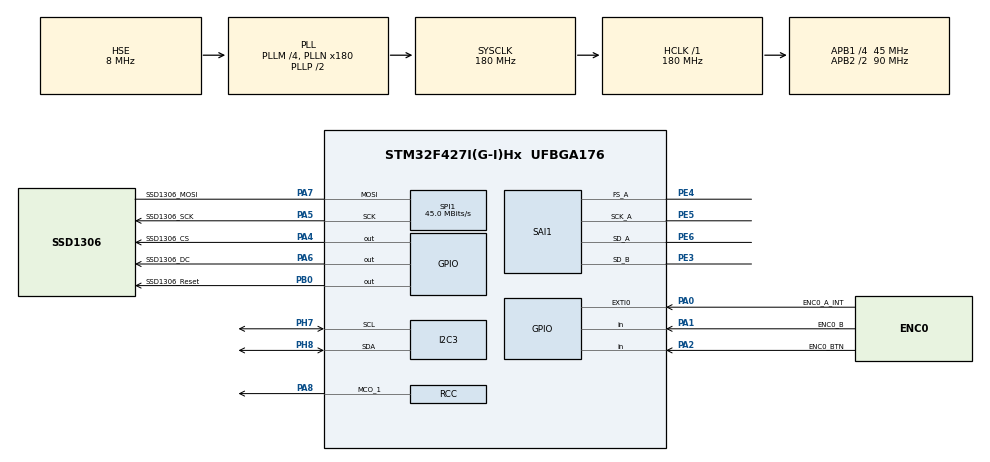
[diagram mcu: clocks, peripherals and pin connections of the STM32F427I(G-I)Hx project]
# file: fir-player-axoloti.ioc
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Dma.Request0=SAI1_A
Dma.Request1=SAI1_B
Dma.SAI1_A.0.Direction=DMA_MEMORY_TO_PERIPH
Dma.SAI1_A.0.FIFOMode=DMA_FIFOMODE_DISABLE
Dma.SAI1_A.0.Instance=DMA2_Stream1
Dma.SAI1_A.0.MemDataAlignment=DMA_MDATAALIGN_WORD
Dma.SAI1_A.0.MemInc=DMA_MINC_ENABLE
Dma.SAI1_A.0.Mode=DMA_CIRCULAR
Dma.SAI1_A.0.PeriphDataAlignment=DMA_PDATAALIGN_WORD
Dma.SAI1_A.0.PeriphInc=DMA_PINC_DISABLE
Dma.SAI1_A.0.Priority=DMA_PRIORITY_HIGH
Dma.SAI1_B.1.Direction=DMA_PERIPH_TO_MEMORY
Dma.SAI1_B.1.FIFOMode=DMA_FIFOMODE_DISABLE
Dma.SAI1_B.1.Instance=DMA2_Stream4
Dma.SAI1_B.1.MemDataAlignment=DMA_MDATAALIGN_WORD
Dma.SAI1_B.1.MemInc=DMA_MINC_ENABLE
Dma.SAI1_B.1.Mode=DMA_CIRCULAR
Dma.SAI1_B.1.PeriphDataAlignment=DMA_PDATAALIGN_WORD
Dma.SAI1_B.1.PeriphInc=DMA_PINC_DISABLE
Dma.SAI1_B.1.Priority=DMA_PRIORITY_HIGH
I2C3.OwnAddress=56
Mcu.Family=STM32F4
Mcu.Name=STM32F427I(G-I)Hx
Mcu.Package=UFBGA176
NVIC.DMA2_Stream1_IRQn=true\:0\:0\:false\:false\:true\:false\:true\:true
NVIC.DMA2_Stream4_IRQn=true\:0\:0\:false\:false\:true\:false\:true\:true
NVIC.EXTI0_IRQn=true\:0\:0\:false\:false\:true\:true\:true\:true
NVIC.PriorityGroup=NVIC_PRIORITYGROUP_4
PA0/WKUP.GPIO_Label=ENC0_A_INT
PA0/WKUP.GPIO_ModeDefaultEXTI=GPIO_MODE_IT_FALLING
PA0/WKUP.GPIO_PuPd=GPIO_PULLUP
PA0/WKUP.Signal=GPXTI0
PA1.GPIO_Label=ENC0_B
PA1.GPIO_PuPd=GPIO_PULLUP
PA1.Signal=GPIO_Input
PA13.Mode=Serial_Wire
PA13.Signal=SYS_JTMS-SWDIO
PA14.Mode=Serial_Wire
PA14.Signal=SYS_JTCK-SWCLK
PA2.GPIO_Label=ENC0_BTN
PA2.GPIO_PuPd=GPIO_PULLUP
PA2.Signal=GPIO_Input
PA4.GPIO_Label=SSD1306_CS
PA4.GPIO_Speed=GPIO_SPEED_FREQ_HIGH
PA4.Signal=GPIO_Output
PA5.GPIO_Label=SSD1306_SCK
PA5.Mode=Simplex_Bidirectional_Master
PA5.Signal=SPI1_SCK
PA6.GPIO_Label=SSD1306_DC
PA6.GPIO_Speed=GPIO_SPEED_FREQ_HIGH
PA6.Signal=GPIO_Output
PA7.GPIO_Label=SSD1306_MOSI
PA7.Mode=Simplex_Bidirectional_Master
PA7.Signal=SPI1_MOSI
PA8.Mode=Clock-out-1
PA8.Signal=RCC_MCO_1
PB0.GPIO_Label=SSD1306_Reset
PB0.GPIO_Speed=GPIO_SPEED_FREQ_HIGH
PB0.Signal=GPIO_Output
PE3.Mode=SAI_B_SyncSlave
PE3.Signal=SAI1_SD_B
PE4.Mode=SAI_A_AsyncSlave
PE4.Signal=SAI1_FS_A
PE5.Mode=SAI_A_AsyncSlave
PE5.Signal=SAI1_SCK_A
PE6.Mode=SAI_A_AsyncSlave
PE6.Signal=SAI1_SD_A
PH0/OSC_IN.Mode=HSE-External-Oscillator
PH0/OSC_IN.Signal=RCC_OSC_IN
PH1/OSC_OUT.Mode=HSE-External-Oscillator
PH1/OSC_OUT.Signal=RCC_OSC_OUT
PH7.GPIO_Pu=GPIO_PULLUP
PH7.Mode=I2C
PH7.Signal=I2C3_SCL
PH8.GPIO_Pu=GPIO_PULLUP
PH8.Mode=I2C
PH8.Signal=I2C3_SDA
ProjectManager.HeapSize=0x200
ProjectManager.StackSize=0x800
ProjectManager.TargetToolchain=MDK-ARM V5
RCC.48MHZClocksFreq_Value=90000000
RCC.AHBFreq_Value=180000000
RCC.APB1CLKDivider=RCC_HCLK_DIV4
RCC.APB1Freq_Value=45000000
RCC.APB1TimFreq_Value=90000000
RCC.APB2CLKDivider=RCC_HCLK_DIV2
RCC.APB2Freq_Value=90000000
RCC.APB2TimFreq_Value=180000000
RCC.CortexFreq_Value=180000000
RCC.HCLKFreq_Value=180000000
RCC.HSE_VALUE=8000000
RCC.HSI_VALUE=16000000
RCC.LSE_VALUE=32768
RCC.PLLI2SQ=4
RCC.PLLM=4
RCC.PLLN=180
RCC.PLLSAIN=172
RCC.PLLSAIQ=7
RCC.PLLSourceVirtual=RCC_PLLSOURCE_HSE
RCC.RCC_MCO1Source=RCC_MCO1SOURCE_HSE
RCC.SYSCLKFreq_VALUE=180000000
RCC.SYSCLKSource=RCC_SYSCLKSOURCE_PLLCLK
RCC.VCOOutputFreq_Value=360000000
SAI1.ActiveFrameLength-SAI_A_AsyncSlave=32
SAI1.ActiveFrameLength-SAI_B_SyncSlave=32
SAI1.AudioMode-SAI_A_AsyncSlave=SAI_MODESLAVE_TX
SAI1.ClockStrobing-SAI_A_AsyncSlave=SAI_CLOCKSTROBING_FALLINGEDGE
SAI1.ClockStrobing-SAI_B_SyncSlave=SAI_CLOCKSTROBING_RISINGEDGE
SAI1.DataSize-SAI_A_AsyncSlave=SAI_DATASIZE_32
SAI1.DataSize-SAI_B_SyncSlave=SAI_DATASIZE_32
SAI1.FSOffset-SAI_A_AsyncSlave=SAI_FS_BEFOREFIRSTBIT
SAI1.FSOffset-SAI_B_SyncSlave=SAI_FS_BEFOREFIRSTBIT
SAI1.FrameLength-SAI_A_AsyncSlave=64
SAI1.FrameLength-SAI_B_SyncSlave=64
SAI1.Instance-SAI_A_AsyncSlave=SAI$Index_Block_A
SAI1.Instance-SAI_B_SyncSlave=SAI$Index_Block_B
SAI1.SlotActive-SAI_A_AsyncSlave=0x00000003
SAI1.SlotActive-SAI_B_SyncSlave=0x00000003
SAI1.SlotNumber-SAI_A_AsyncSlave=2
SAI1.SlotNumber-SAI_B_SyncSlave=2
SAI1.SlotSize-SAI_A_AsyncSlave=SAI_SLOTSIZE_32B
SAI1.SlotSize-SAI_B_SyncSlave=SAI_SLOTSIZE_32B
SAI1.Synchro_A=SAI_ASYNCHRONOUS
SAI1.Synchro_B=SAI_SYNCHRONOUS
SAI1.VirtualMode-SAI_A_AsyncSlave=VM_SLAVE
SAI1.VirtualMode-SAI_B_SyncSlave=VM_SLAVE
SAI1.VirtualSlotActive-SAI_A_AsyncSlave=SAI_SLOT_USERSETTING
SAI1.VirtualSlotActive-SAI_B_SyncSlave=SAI_SLOT_USERSETTING
SAI1.VirtualSlotActive0-SAI_A_AsyncSlave=true
SAI1.VirtualSlotActive0-SAI_B_SyncSlave=true
SAI1.VirtualSlotActive1-SAI_A_AsyncSlave=true
SAI1.VirtualSlotActive1-SAI_B_SyncSlave=true
SPI1.CalculateBaudRate=45.0 MBits/s
SPI1.Direction=SPI_DIRECTION_1LINE
SPI1.Mode=SPI_MODE_MASTER
SPI1.VirtualType=VM_MASTER
board=custom

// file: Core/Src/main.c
/* USER CODE BEGIN Header */
/**
  ******************************************************************************
  * @file           : main.c
  * @brief          : Main program body
  ******************************************************************************
  * @attention
  *
  * <h2><center>&copy; Copyright (c) 2021 STMicroelectronics.
  * All rights reserved.</center></h2>
  *
  * This software component is licensed by ST under BSD 3-Clause license,
  * the "License"; You may not use this file except in compliance with the
  * License. You may obtain a copy of the License at:
  *                        opensource.org/licenses/BSD-3-Clause
  *
  ******************************************************************************
  */
/* USER CODE END Header */
#include "main.h"
#include "dma.h"
#include "i2c.h"
#include "sai.h"
#include "spi.h"
#include "gpio.h"

/* USER CODE BEGIN Includes */
#include "audio.h"
#include "fir.h"
#include "impulse.h"
#include "dsp.h"
#include "ui.h"
#include "ssd1306_fonts.h"
#include "ssd1306.h"
/* USER CODE END Includes */

void SystemClock_Config(void);
void PeriphCommonClock_Config(void);

int main(void)
{

  /* MCU Configuration--------------------------------------------------------*/

  /* Reset of all peripherals, Initializes the Flash interface and the Systick. */
  HAL_Init();

  /* Configure the system clock */
  SystemClock_Config();

/* Configure the peripherals common clocks */
  PeriphCommonClock_Config();

  /* USER CODE BEGIN SysInit */
  __CCMDATARAMEN_CLK_ENABLE();
  /* USER CODE END SysInit */

  /* Initialize all configured peripherals */
  MX_GPIO_Init();
  MX_DMA_Init();
  MX_I2C3_Init();
  MX_SAI1_Init();
  MX_SPI1_Init();
  /* USER CODE BEGIN 2 */
  SSD1306_Init();
  Fir_Init();
  UI_LoadImpulse();
  UI_Redraw();
  HAL_Delay(100); // Wait for a codec
  Audio_Init();
  Audio_Start();
  /* USER CODE END 2 */

  /* Infinite loop */
  /* USER CODE BEGIN WHILE */
  while (1)
  {
    Dsp_Process();
    UI_Update();
    /* USER CODE END WHILE */

  }
}

void SystemClock_Config(void)
{
  RCC_OscInitTypeDef RCC_OscInitStruct = {0};
  RCC_ClkInitTypeDef RCC_ClkInitStruct = {0};

  /** Macro to configure SAI1BlockB clock source selection
  */
  __HAL_RCC_SAI_BLOCKBCLKSOURCE_CONFIG(SAI_CLKSOURCE_PLLSAI);

  /** Macro to configure SAI1BlockA clock source selection
  */
  __HAL_RCC_SAI_BLOCKACLKSOURCE_CONFIG(SAI_CLKSOURCE_PLLSAI);

  /** Configure the main internal regulator output voltage
  */
  __HAL_RCC_PWR_CLK_ENABLE();
  __HAL_PWR_VOLTAGESCALING_CONFIG(PWR_REGULATOR_VOLTAGE_SCALE1);

  /** Initializes the RCC Oscillators according to the specified parameters
  * in the RCC_OscInitTypeDef structure.
  */
  RCC_OscInitStruct.OscillatorType = RCC_OSCILLATORTYPE_HSE;
  RCC_OscInitStruct.HSEState = RCC_HSE_ON;
  RCC_OscInitStruct.PLL.PLLState = RCC_PLL_ON;
  RCC_OscInitStruct.PLL.PLLSource = RCC_PLLSOURCE_HSE;
  RCC_OscInitStruct.PLL.PLLM = 4;
  RCC_OscInitStruct.PLL.PLLN = 180;
  RCC_OscInitStruct.PLL.PLLP = RCC_PLLP_DIV2;
  RCC_OscInitStruct.PLL.PLLQ = 4;
  if (HAL_RCC_OscConfig(&RCC_OscInitStruct) != HAL_OK)
  {
    Error_Handler();
  }

  /** Activate the Over-Drive mode
  */
  if (HAL_PWREx_EnableOverDrive() != HAL_OK)
  {
    Error_Handler();
  }

  /** Initializes the CPU, AHB and APB buses clocks
  */
  RCC_ClkInitStruct.ClockType = RCC_CLOCKTYPE_HCLK|RCC_CLOCKTYPE_SYSCLK
                              |RCC_CLOCKTYPE_PCLK1|RCC_CLOCKTYPE_PCLK2;
  RCC_ClkInitStruct.SYSCLKSource = RCC_SYSCLKSOURCE_PLLCLK;
  RCC_ClkInitStruct.AHBCLKDivider = RCC_SYSCLK_DIV1;
  RCC_ClkInitStruct.APB1CLKDivider = RCC_HCLK_DIV4;
  RCC_ClkInitStruct.APB2CLKDivider = RCC_HCLK_DIV2;

  if (HAL_RCC_ClockConfig(&RCC_ClkInitStruct, FLASH_LATENCY_5) != HAL_OK)
  {
    Error_Handler();
  }
  HAL_RCC_MCOConfig(RCC_MCO1, RCC_MCO1SOURCE_HSE, RCC_MCODIV_1);
}

void PeriphCommonClock_Config(void)
{
  RCC_PeriphCLKInitTypeDef PeriphClkInitStruct = {0};

  /** Initializes the peripherals clock
  */
  PeriphClkInitStruct.PeriphClockSelection = RCC_PERIPHCLK_SAI_PLLSAI;
  PeriphClkInitStruct.PLLSAI.PLLSAIN = 172;
  PeriphClkInitStruct.PLLSAI.PLLSAIQ = 7;
  PeriphClkInitStruct.PLLSAIDivQ = 1;
  if (HAL_RCCEx_PeriphCLKConfig(&PeriphClkInitStruct) != HAL_OK)
  {
    Error_Handler();
  }
}

void Error_Handler(void)
{
  __disable_irq();
  while (1)
  {
  }
}
